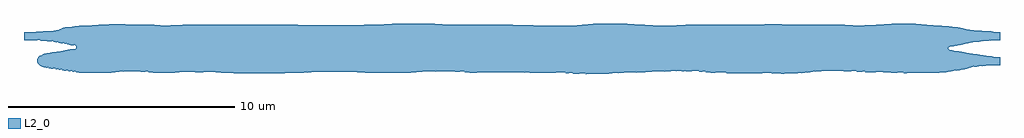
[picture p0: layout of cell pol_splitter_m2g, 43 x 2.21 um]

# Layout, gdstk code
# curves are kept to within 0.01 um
import gdstk
lib = gdstk.Library(unit=1e-6, precision=1e-09)
def P(c, l, *ps):  # polygons
    for p in ps: c.add(gdstk.Polygon(p, *l))
L2_0 = (2, 0)

pol_splitter_m2g = lib.new_cell('pol_splitter_m2g')
P(pol_splitter_m2g, L2_0, [(20.376,0.317),(20.376,0.802),(21.112,0.777),(21.272,0.725),(21.5,0.725),(21.5,0.375),(21.09,0.375),(20.999,0.355),(20.767,0.355),(20.572,0.317)],
  [(20.376,-0.778),(20.376,-0.237),(20.684,-0.268),(20.966,-0.331),(21.138,-0.331),(21.27,-0.375),(21.5,-0.375),(21.5,-0.725),(20.903,-0.725),(20.86,-0.741)],
  [(-20.724,0.355),(-20.827,0.392),(-20.899,0.392),(-20.931,0.375),(-21.5,0.375),(-21.5,0.725),(-21.036,0.725),(-20.898,0.765),(-20.741,0.752),(-20.569,0.777),(-20.569,0.355)],
  [(-20.57,-0.816),(-20.704,-0.776),(-20.839,-0.696),(-20.911,-0.584),(-20.925,-0.527),(-20.912,-0.454),(-20.856,-0.354),(-20.786,-0.298),(-20.602,-0.219),(-20.569,-0.219)],
  [(-19.962,0.279),(-20.276,0.342),(-20.569,0.355),(-20.569,0.777),(-20.24,0.777),(-19.961,0.834)],
  [(-19.961,-0.911),(-20.569,-0.816),(-20.569,-0.219),(-20.176,-0.144),(-19.961,-0.124)],
  [(-19.528,0.201),(-19.961,0.279),(-19.961,0.834),(-19.842,0.9),(-19.65,0.964),(-19.528,0.964)],
  [(-19.528,-0.976),(-19.961,-0.911),(-19.961,-0.124),(-19.528,-0.039)],
  [(-18.948,-1.052),(-19.528,-0.976),(-19.528,-0.039),(-19.461,-0.019),(-19.313,-0.019),(-19.259,-0.005),(-19.188,0.059),(-19.205,0.127),(-19.247,0.154),(-19.424,0.168),(-19.528,0.201),(-19.528,0.964),(-19.389,0.964),(-19.062,1.014),(-18.517,1.026),(-18.486,1.039),(-18.276,1.039),(-18.186,1.064),(-17.978,1.069),(-17.978,-1.052)],
  [(-17.978,-1.052),(-17.978,1.069),(-17.964,1.076),(-17.068,1.089),(-17.037,1.076),(-16.577,1.076),(-16.552,1.064),(-15.767,1.064),(-15.486,1.026),(-15.068,1.026),(-14.827,1.051),(-14.517,1.051),(-14.487,1.064),(-12.565,1.064),(-12.565,-1.04),(-12.813,-1.039),(-13.069,-1.014),(-13.586,-1.014),(-13.617,-1.027),(-14.649,-1.014),(-14.864,-1.039),(-15.815,-1.039),(-16.165,-1.002),(-16.338,-1.002),(-16.369,-0.989),(-17.109,-0.989),(-17.141,-1.002),(-17.798,-1.039),(-17.829,-1.052)],
  [(-10.675,-1.077),(-10.706,-1.064),(-12.241,-1.064),(-12.265,-1.052),(-12.537,-1.052),(-12.565,-1.04),(-12.565,1.064),(-12.528,1.076),(-10.504,1.076),(-10.479,1.064),(-9.457,1.064),(-9.242,1.039),(-6.779,1.039),(-6.755,1.051),(-6.52,1.051),(-6.489,1.064),(-5.632,1.076),(-5.601,1.089),(-5.292,1.089),(-5.267,1.101),(-3.419,1.101),(-3.394,1.089),(-2.748,1.072),(-2.748,-0.989),(-3.93,-1.002),(-3.954,-1.014),(-4.201,-1.014),(-4.457,-1.039),(-6.455,-1.039),(-6.483,-1.027),(-6.802,-1.027),(-6.833,-1.014),(-8.825,-1.014),(-9.169,-1.052),(-9.989,-1.052),(-10.016,-1.064),(-10.251,-1.064),(-10.282,-1.077)],
  [(3.254,-1.107),(2.706,-1.089),(2.356,-1.052),(1.946,-1.052),(1.915,-1.039),(0.792,-1.039),(0.765,-1.027),(0.584,-1.027),(0.556,-1.039),(-0.441,-1.039),(-0.472,-1.052),(-1.528,-1.052),(-1.559,-1.039),(-1.866,-1.039),(-2.085,-1.014),(-2.479,-1.002),(-2.511,-0.989),(-2.748,-0.989),(-2.748,1.072),(0.028,1.064),(0.059,1.051),(0.294,1.051),(0.318,1.039),(0.916,1.039),(0.946,1.026),(1.219,1.026),(1.243,1.014),(2.68,1.014),(2.704,1.026),(2.992,1.039),(3.217,1.076),(3.376,1.08),(3.376,-1.102)],
  [(3.376,-1.102),(3.376,1.08),(3.389,1.087),(3.556,1.089),(3.581,1.101),(5.079,1.101),(5.104,1.089),(5.839,1.064),(5.869,1.051),(6.418,1.026),(6.442,1.014),(7.079,1.014),(7.256,1.039),(7.656,1.052),(7.656,-0.972),(7.255,-0.965),(6.992,-0.989),(6.746,-0.989),(6.715,-1.002),(6.179,-1.002),(6.155,-1.014),(5.495,-1.027),(5.468,-1.039),(4.957,-1.039),(4.927,-1.052),(4.444,-1.064),(4.254,-1.089)],
  [(11.865,-1.089),(11.841,-1.077),(11.056,-1.077),(11.026,-1.064),(8.981,-1.052),(8.951,-1.039),(8.402,-1.014),(8.236,-0.989),(7.661,-0.975),(7.656,1.052),(7.682,1.064),(10.079,1.064),(10.103,1.076),(11.126,1.076),(11.157,1.089),(13.496,1.064),(13.496,-0.977),(12.586,-1.077)],
  [(17.276,-1.064),(17.251,-1.052),(17.004,-1.052),(16.973,-1.039),(16.713,-1.039),(16.685,-1.027),(16.366,-1.027),(16.335,-1.014),(15.579,-1.027),(15.439,-1.002),(14.627,-0.977),(14.601,-0.965),(13.653,-0.965),(13.496,-0.977),(13.496,1.064),(14.649,1.064),(14.679,1.051),(15.012,1.039),(15.042,1.026),(15.523,1.026),(15.554,1.039),(15.914,1.039),(16.054,1.064),(16.252,1.064),(16.43,1.089),(16.702,1.089),(16.727,1.101),(17.788,1.101),(18.502,1.039),(18.502,-1.045)],
  [(18.502,-1.045),(18.502,1.039),(18.676,1.014),(18.924,1.014),(19.064,0.989),(19.237,0.989),(19.582,0.952),(19.582,0.143),(19.447,0.118),(19.297,0.117),(19.261,0.098),(19.225,0.052),(19.243,-0.018),(19.297,-0.055),(19.489,-0.094),(19.582,-0.097),(19.582,-0.942),(19.136,-1.027)],
  [(19.582,0.143),(19.582,0.952),(19.752,0.926),(19.979,0.864),(19.979,0.242),(19.776,0.181)],
  [(19.582,-0.942),(19.582,-0.097),(19.979,-0.169),(19.979,-0.877),(19.8,-0.927)],
  [(19.979,0.242),(19.979,0.864),(20.376,0.802),(20.376,0.317)],
  [(19.979,-0.877),(19.979,-0.169),(20.376,-0.237),(20.376,-0.778),(20.314,-0.778)])

lib.write_gds('pol_splitter_m2g.gds')
